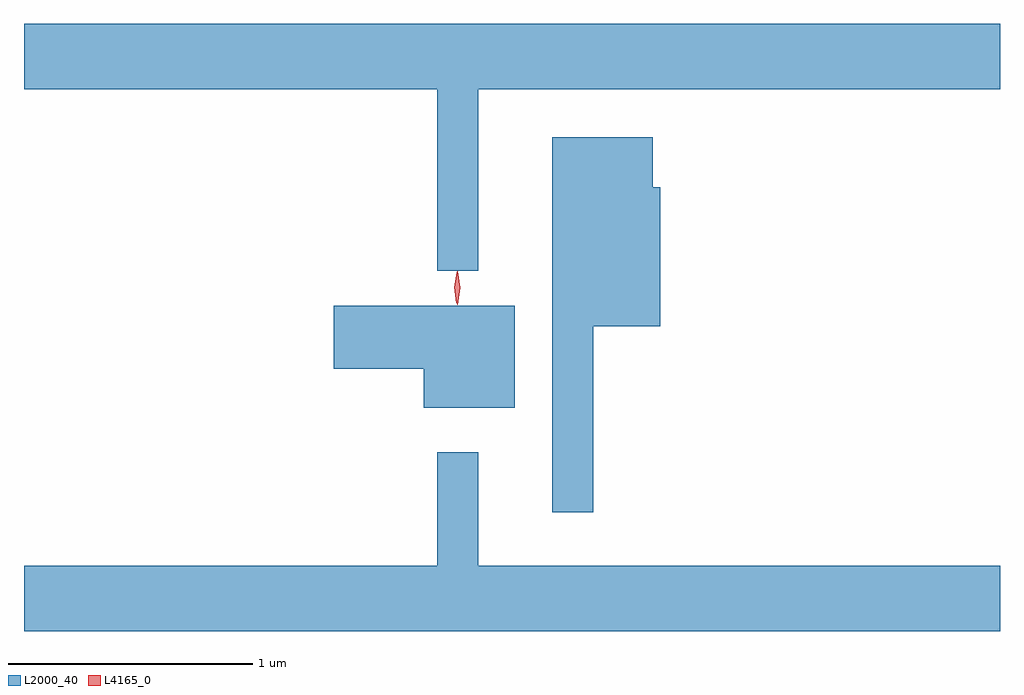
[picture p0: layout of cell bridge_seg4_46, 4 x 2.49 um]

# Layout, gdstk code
import gdstk
lib = gdstk.Library(unit=1e-6, precision=1e-09)
def P(c, l, *ps):  # polygons
    for p in ps: c.add(gdstk.Polygon(p, *l))
L2000_40 = (2000, 40)
L4165_0 = (4165, 0)

bridge_seg4_46 = lib.new_cell('bridge_seg4_46')
P(bridge_seg4_46, L2000_40, [(1325.519,1279.196),(1327.657,1279.196),(1327.657,1279.464),(1323.657,1279.464),(1323.657,1279.196),(1325.351,1279.196),(1325.351,1278.453),(1325.519,1278.453)],
  [(1325.989,1278.226),(1326.264,1278.226),(1326.264,1278.794),(1326.234,1278.794),(1326.234,1278.999),(1325.821,1278.999),(1325.821,1277.463),(1325.989,1277.463)],
  [(1325.669,1278.309),(1324.926,1278.309),(1324.926,1278.051),(1325.296,1278.051),(1325.296,1277.891),(1325.669,1277.891)],
  [(1327.657,1277.244),(1325.519,1277.244),(1325.519,1277.708),(1325.351,1277.708),(1325.351,1277.244),(1323.657,1277.244),(1323.657,1276.976),(1327.657,1276.976)])
P(bridge_seg4_46, L4165_0, [(1325.433,1278.314),(1325.424,1278.382),(1325.433,1278.45),(1325.434,1278.45),(1325.434,1278.45),(1325.444,1278.382),(1325.434,1278.314),(1325.434,1278.314)],
  [(1325.43,1278.32),(1325.429,1278.321),(1325.421,1278.384),(1325.431,1278.446),(1325.432,1278.447),(1325.432,1278.446),(1325.441,1278.384),(1325.43,1278.321)])

lib.write_gds('bridge_seg4_46.gds')
